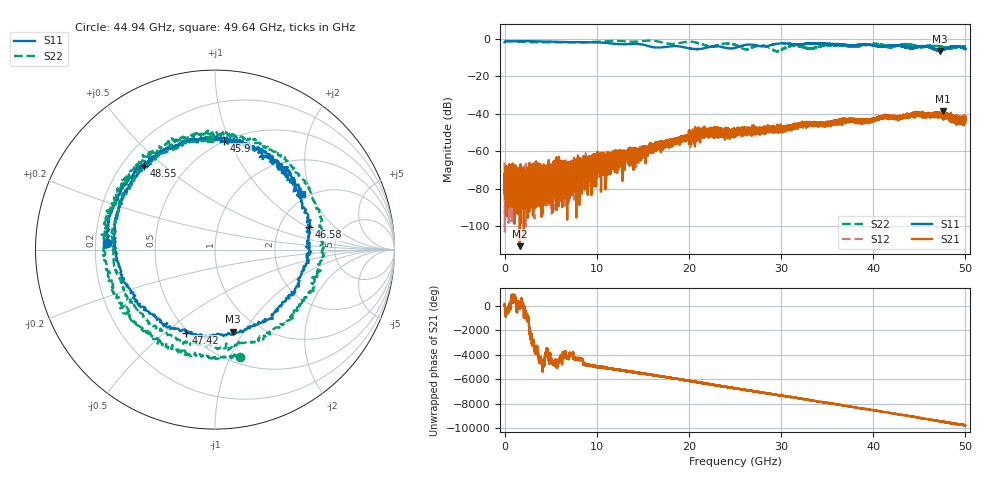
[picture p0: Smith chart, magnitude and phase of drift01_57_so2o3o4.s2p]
!Created with skrf (http://scikit-rf.org).
# Hz S RI R 50.0
!freq ReS11 ImS11 ReS21 ImS21 ReS12 ImS12 ReS22 ImS22
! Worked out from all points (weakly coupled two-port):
!   10001 points, 300 kHz to 50 GHz, reference 50 ohm
!   highest |S21| = -38.74 dB at 47.53 GHz (marker M1); lowest = -110.6 dB at 1.65 GHz (marker M2)
!   lowest |S11| = -6.6 dB at 47.21 GHz (marker M3), VSWR 2.75, Z = 38.2 - j44.7 ohm
!   |S11| at or under -10 dB: nowhere
!   |S22| runs from -6.8 to -1.0 dB; largest |S21 - S12| = 0.0042
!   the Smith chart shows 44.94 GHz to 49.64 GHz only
!   S11 on the Smith chart (normalised r, x): 44.94 GHz: 0.25, +0.03; 45.9 GHz: 0.50, +0.96; 46.58 GHz: 2.94, +1.03; 47.42 GHz: 0.49, -0.60; 48.55 GHz: 0.29, +0.43; 49.64 GHz: 1.85, +1.72
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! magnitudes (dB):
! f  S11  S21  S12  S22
! 300 kHz  -2.1  -82.4  -65.9  -1.3
! 255.3 MHz  -1.4  -75.7  -71.7  -1.4
! 1.65 GHz  -1.4  -110.6  -79.4  -1.8
! 6.825 GHz  -2.0  -82.7  -67.1  -1.9
! 8.335 GHz  -1.9  -68.4  -66.1  -2.1
! 16.67 GHz  -4.8  -56.9  -56.7  -1.6
! 21.68 GHz  -5.2  -51.7  -50.3  -3.6
! 25 GHz  -5.0  -49.0  -49.8  -3.4
! 28.09 GHz  -4.2  -48.3  -48.0  -3.8
! 29.53 GHz  -2.8  -47.1  -47.2  -6.8
! 31.29 GHz  -3.1  -46.5  -48.2  -4.0
! 33.34 GHz  -2.6  -45.1  -45.1  -5.2
! 41.67 GHz  -3.9  -41.8  -41.3  -4.6
! 44.94 GHz  -4.4  -39.6  -40.9  -4.2
! 45.9 GHz  -4.3  -40.8  -40.1  -4.1
! 46.58 GHz  -5.4  -40.5  -41.0  -3.7
! 47.21 GHz  -6.6  -40.1  -41.1  -4.3
! 47.42 GHz  -6.2  -39.4  -40.8  -4.6
! 47.53 GHz  -6.2  -38.7  -40.8  -4.7
! 48.55 GHz  -4.3  -41.6  -42.3  -5.3
! 49.64 GHz  -4.8  -44.3  -43.2  -4.2
! 50 GHz  -5.6  -41.6  -44.0  -4.1
